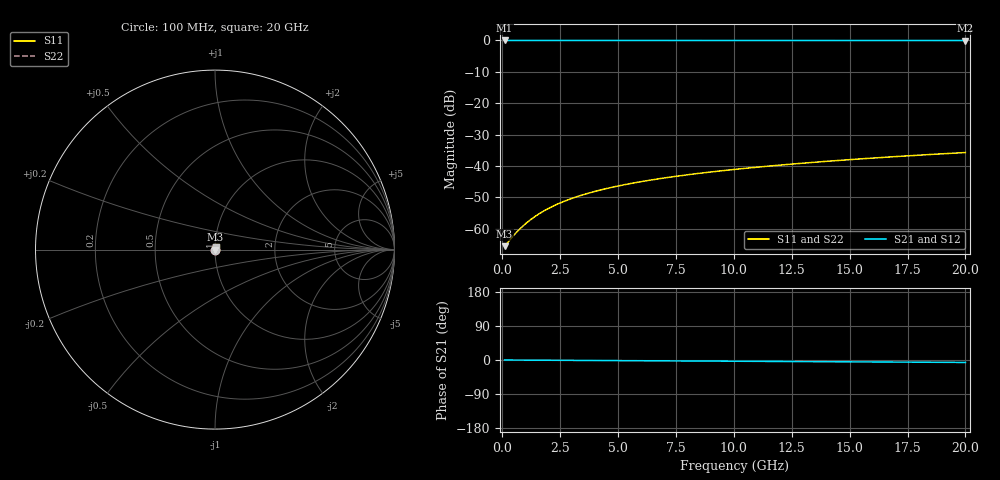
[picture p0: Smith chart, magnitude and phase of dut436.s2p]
! Touchstone file exported from HFSS 2026.1.0
!  File:  C:/ffzhzh/LocalFiles/Ansys_Project_Files/temp_train_TSV_436_1783021322_55676.aedt
!  Generated:  03:44:09 AM Jul  3, 2026
!  Design:  TSV
!  Project:  temp_train_TSV_436_1783021322_55676
! Variables:
!  h_bsmrdl = 2um
!  h_ox = 20um
!  h_rdl = 5um
!  h_sub = 67.1um
!  h_tmrdl = 5um
!  h_tsv = 67.1um
!  h_via = 3um
!  l_bsmrdl = 300um
!  l_sub = 408um
!  l_tmrdl = 200um
!  m_sub = 200um
!  pitch = 19.72um
!  r_tsv = 4um
!  s_tmrdl = 10um
!  w_bsmrdl = 18um
!  w_sub = 500um
!  w_tmrdl = 12um
!  x_tsv_center1 = 206um
!  x_tsv_center2 = 524um
!  x_tsv_center3 = 736um
!  x_tsv_center4 = 1054um
!  x_tsv_center5 = 1266um
!  x_tsv_center6 = 1584um
# GHz S MA R 50.000000
! Terminal data exported
! Port[1] = TSV1_1_T1
! Port[2] = TSV1_1_T2
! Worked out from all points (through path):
!   200 points, 100 MHz to 20 GHz, reference 50 ohm
!   highest |S21| = 0.00 dB at 100 MHz (marker M1); lowest = 0.0 dB at 20 GHz (marker M2)
!   lowest |S11| = -65.5 dB at 100 MHz (marker M3), VSWR 1.00, Z = 50.1 + j0.0124 ohm
!   |S11| at or under -10 dB: start of sweep to end of sweep
!   |S22| runs from -65.5 to -35.7 dB; largest |S21 - S12| = 5.2e-15
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0.1  0.0005294 13.5  0.9995 -0.0  0.9995 -0.0  0.0005294 13.5
! Gamma 0 0 0 0
! Port Impedance 50 0 50 0
0.2  0.0005824 24.2  0.9995 -0.1  0.9995 -0.1  0.0005824 24.2
0.5  0.0007922 43.3  0.9994 -0.2  0.9994 -0.2  0.0007922 43.3
0.8  0.00103 54.0  0.9994 -0.3  0.9994 -0.3  0.00103 54.0
1.1  0.001289 60.6  0.9994 -0.4  0.9994 -0.4  0.001289 60.6
1.3  0.001469 63.7  0.9994 -0.4  0.9994 -0.4  0.001469 63.7
1.5  0.001653 66.0  0.9993 -0.5  0.9993 -0.5  0.001653 66.0
1.9  0.002025 69.2  0.9993 -0.6  0.9993 -0.6  0.002025 69.2
2.1  0.002212 70.3  0.9993 -0.7  0.9993 -0.7  0.002212 70.3
2.4  0.002492 71.6  0.9992 -0.8  0.9992 -0.8  0.002492 71.6
2.9  0.002955 73.0  0.9992 -1.0  0.9992 -1.0  0.002955 73.0
3.5  0.0035 74.0  0.9991 -1.2  0.9991 -1.2  0.0035 74.0
4.2  0.004122 74.6  0.999 -1.4  0.999 -1.4  0.004122 74.6
5  0.004811 75.0  0.9989 -1.6  0.9989 -1.6  0.004811 75.0
5.9  0.005564 75.3  0.9988 -1.9  0.9988 -1.9  0.005564 75.3
6.8  0.006299 75.5  0.9986 -2.2  0.9986 -2.2  0.006299 75.5
8.3  0.007492 75.7  0.9985 -2.7  0.9985 -2.7  0.007492 75.7
10.1  0.008894 75.9  0.9983 -3.3  0.9983 -3.3  0.008895 75.9
11.7  0.01013 75.9  0.9981 -3.8  0.9981 -3.8  0.01013 75.9
13.4  0.01143 75.9  0.998 -4.3  0.998 -4.3  0.01143 75.9
16.7  0.01393 75.7  0.9978 -5.4  0.9978 -5.4  0.01393 75.7
20  0.0164 75.3  0.9975 -6.4  0.9975 -6.4  0.0164 75.3
